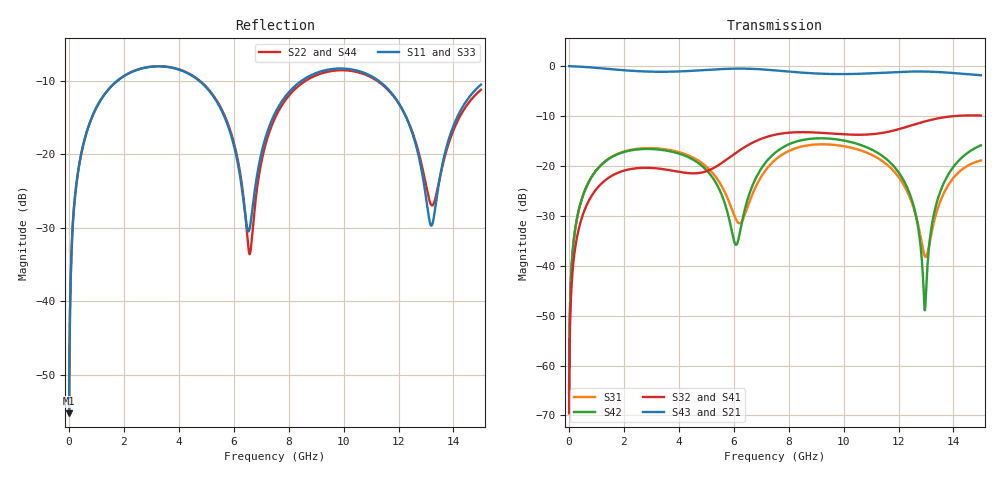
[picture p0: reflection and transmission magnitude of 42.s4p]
! Created with skrf 1.8.0 (http://scikit-rf.org).
# GHz S RI R 50.0
!freq ReS11 ImS11 ReS12 ImS12 ReS13 ImS13
! ReS14 ImS14
! ReS21 ImS21 ReS22 ImS22 ReS23 ImS23
! ReS24 ImS24
! ReS31 ImS31 ReS32 ImS32 ReS33 ImS33
! ReS34 ImS34
! ReS41 ImS41 ReS42 ImS42 ReS43 ImS43
! ReS44 ImS44
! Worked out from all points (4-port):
!   2499 points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, 5 MHz to 15 GHz, reference 50 ohm
!   strongest paths, dB at 5 MHz, 3.476 GHz, 7.19 GHz, 11.1 GHz, 15 GHz:
!     S43: 0.0, -1.1, -0.7, -1.4, -1.8
!     S21: 0.0, -1.1, -0.7, -1.4, -1.8
!     S32: -69.6, -20.7, -14.2, -13.6, -9.9
!     S41: -69.6, -20.7, -14.2, -13.6, -9.9
!     S42: -65.7, -16.9, -19.1, -16.9, -15.9
!     S31: -65.7, -16.6, -20.6, -18.0, -18.9
!   lowest |S11| = -55.3 dB at 5 MHz (marker M1), VSWR 1.00, Z = 50.1 + j0.105 ohm
!   |S11| at or under -10 dB: start of sweep to 1.766 GHz; 4.739 GHz to 8.472 GHz (3.733 GHz wide, 56.5 % of centre); 11.27 GHz to end of sweep
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0.005  0.00137 0.00105  0.9986 -0.00267  6.7e-05 0.000512  -6.52e-05 -0.000325
       0.9986 -0.00267  0.00137 0.00105  -6.52e-05 -0.000325  6.69e-05 0.000512
       6.7e-05 0.000512  -6.52e-05 -0.000325  0.00137 0.00105  0.9986 -0.00267
       -6.52e-05 -0.000325  6.69e-05 0.000512  0.9986 -0.00267  0.00137 0.00105
0.3626511  0.0221 0.0798  0.9696 -0.1924  0.0099 0.0354  -0.00818 -0.0223
           0.9696 -0.1924  0.0222 0.0798  -0.00818 -0.0223  0.00964 0.0354
           0.0099 0.0354  -0.00818 -0.0223  0.0221 0.0798  0.9696 -0.1924
           -0.00818 -0.0223  0.00964 0.0354  0.9696 -0.1924  0.0222 0.0798
1.725719  0.248 0.189  0.597 -0.7021  0.1151 0.0612  -0.0829 -0.0137
          0.597 -0.7021  0.249 0.1884  -0.0829 -0.0137  0.1117 0.0654
          0.1151 0.0612  -0.0829 -0.0137  0.248 0.1891  0.597 -0.7021
          -0.0829 -0.0137  0.1117 0.0654  0.597 -0.7021  0.2491 0.1884
6.602751  0.0306 0.0125  -0.9393 -0.0383  -0.0163 0.043  -0.002 0.1662
          -0.9393 -0.0383  0.0211 0.00376  -0.00147 0.1663  0.0308 0.0464
          -0.0163 0.043  -0.00147 0.1663  0.0304 0.0103  -0.9393 -0.0388
          -0.002 0.1662  0.0308 0.0464  -0.9393 -0.0388  0.0215 0.00156
11.19842  0.2808 -0.1608  0.3768 0.7632  0.0695 -0.1001  0.1642 -0.1299
          0.3768 0.7632  0.2825 -0.1454  0.1635 -0.1317  0.0647 -0.1212
          0.0695 -0.1001  0.1635 -0.1317  0.2785 -0.1583  0.3792 0.7631
          0.1642 -0.1299  0.0647 -0.1212  0.3792 0.7631  0.2787 -0.1467
12.96165  0.0379 -0.0425  0.8543 0.2186  -0.0123 0.00153  0.0622 -0.272
          0.8543 0.2186  0.0506 -0.0437  0.0596 -0.2726  0.00319 -0.00162
          -0.0123 0.00153  0.0596 -0.2726  0.0393 -0.0391  0.8553 0.2152
          0.0622 -0.272  0.00319 -0.00162  0.8553 0.2152  0.0472 -0.0416
15  0.2368 0.1801  0.5998 -0.5453  0.1131 0.00536  -0.24 -0.2115
    0.5998 -0.5453  0.2223 0.1605  -0.2419 -0.2094  0.1554 -0.0415
    0.1131 0.00536  -0.2419 -0.2094  0.2391 0.1782  0.5972 -0.5478
    -0.24 -0.2115  0.1554 -0.0415  0.5972 -0.5478  0.2221 0.1616
